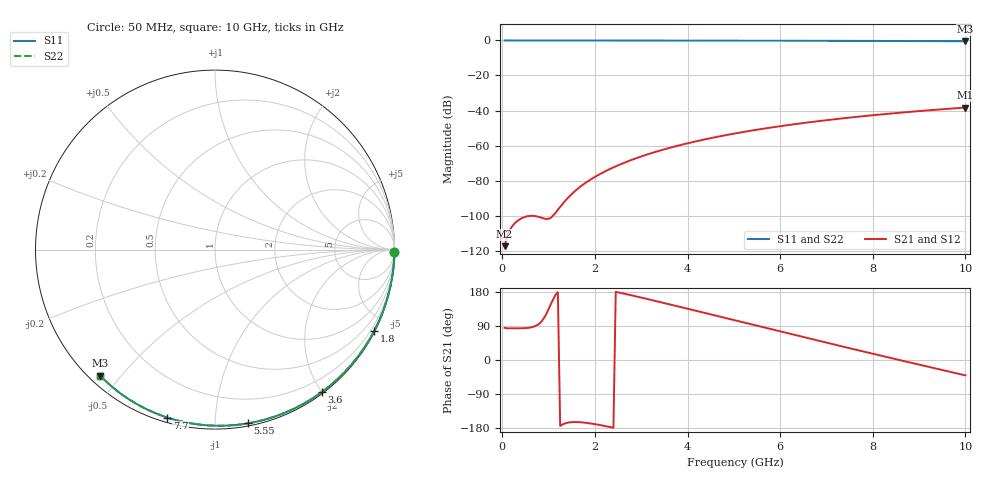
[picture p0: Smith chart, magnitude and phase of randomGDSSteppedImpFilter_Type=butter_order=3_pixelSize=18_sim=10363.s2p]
! freq	dB(S11)	phase(S11)	dB(S12)	phase(S12)
!  dB(S21)	phase(S21)	dB(S22)	phase(S22)
!S-par simulation data
#  GHz  S  DB  R 50
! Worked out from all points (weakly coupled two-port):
!   200 points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, 50 MHz to 10 GHz, reference 50 ohm
!   highest |S21| = -38.32 dB at 10 GHz (marker M1); lowest = -117.5 dB at 50 MHz (marker M2)
!   lowest |S11| = -0.4 dB at 10 GHz (marker M3), VSWR 38.90, Z = 1.54 - j22 ohm
!   |S11| at or under -10 dB: nowhere
!   |S22| runs from -0.4 to 0.0 dB; largest |S21 - S12| = 0
!   S11 on the Smith chart (normalised r, x): 50 MHz: open; 1.8 GHz: 0.04, -4.14; 3.6 GHz: 0.02, -2.00; 5.55 GHz: 0.02, -1.21; 7.7 GHz: 0.02, -0.76; 10 GHz: 0.03, -0.44
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0.05  -0.00 -0.8  -117.46 85.0  -117.46 85.0  -0.00 -0.8
0.9  -0.02 -13.7  -101.71 110.9  -101.71 110.9  -0.02 -13.7
1.75  -0.03 -26.4  -82.20 -165.0  -82.20 -165.0  -0.03 -26.4
1.8  -0.03 -27.1  -81.27 -165.6  -81.27 -165.6  -0.03 -27.1
1.85  -0.04 -27.9  -80.38 -166.4  -80.38 -166.4  -0.04 -27.9
1.9  -0.04 -28.6  -79.52 -167.3  -79.52 -167.3  -0.04 -28.6
2.05  -0.04 -30.8  -77.14 -170.3  -77.14 -170.3  -0.04 -30.8
2.25  -0.04 -33.8  -74.34 -174.9  -74.34 -174.9  -0.04 -33.8
2.45  -0.05 -36.7  -71.87 180.0  -71.87 180.0  -0.05 -36.7
2.65  -0.05 -39.6  -69.64 174.6  -69.64 174.6  -0.05 -39.6
3  -0.06 -44.6  -66.24 164.8  -66.24 164.8  -0.06 -44.6
3.4  -0.07 -50.3  -62.90 153.1  -62.90 153.1  -0.07 -50.3
3.6  -0.07 -53.1  -61.41 147.2  -61.41 147.2  -0.07 -53.1
4.3  -0.09 -62.7  -56.90 126.3  -56.90 126.3  -0.09 -62.7
5.05  -0.11 -72.7  -52.98 103.8  -52.98 103.8  -0.11 -72.7
5.55  -0.13 -79.2  -50.75 88.8  -50.75 88.8  -0.13 -79.2
6.1  -0.15 -86.2  -48.58 72.3  -48.58 72.3  -0.15 -86.2
6.7  -0.18 -93.7  -46.48 54.5  -46.48 54.5  -0.18 -93.7
7.7  -0.24 -105.8  -43.49 25.2  -43.49 25.2  -0.24 -105.8
8.35  -0.29 -113.4  -41.82 6.4  -41.82 6.4  -0.29 -113.4
9.15  -0.36 -122.7  -40.00 -16.5  -40.00 -16.5  -0.36 -122.7
10  -0.45 -132.4  -38.32 -40.6  -38.32 -40.6  -0.45 -132.4
